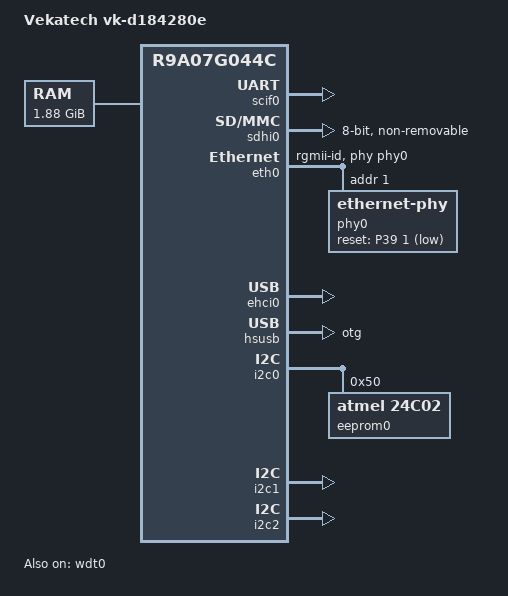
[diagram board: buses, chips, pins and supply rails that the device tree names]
// SPDX-License-Identifier: GPL-2.0
/*
 * Device Tree Source for the VK-CMRZ/G2LC board
 *
 */

/dts-v1/;
#include <dt-bindings/gpio/gpio.h>
#include "r9a07g044c.dtsi"
#include "r9a07g044c-u-boot.dtsi"
#include <dt-bindings/pinctrl/rzg2l-pinctrl.h>

/ {
        model = "Vekatech vk-d184280e";
        compatible = "renesas,r9a07g044c", "renesas,rzg2lc";

        aliases {
                serial0 = &scif0;
        };

        chosen {
                stdout-path = "serial0:115200n8";
        };

        memory@48000000 {
                device_type = "memory";
                /* first 128MB is reserved for secure area. */
                reg = <0 0x48000000 0 0x78000000>; 
        };

};

&pinctrl {
        eth0_pins: eth0 {
                pinmux = <RZG2L_PINMUX(28, 1, 1)>, /* ET0_LINKSTA */
                         <RZG2L_PINMUX(27, 1, 1)>, /* ET0_MDC */
                         <RZG2L_PINMUX(28, 0, 1)>, /* ET0_MDIO */
                         <RZG2L_PINMUX(20, 0, 1)>, /* ET0_TXC */
                         <RZG2L_PINMUX(20, 1, 1)>, /* ET0_TX_CTL */
                         <RZG2L_PINMUX(20, 2, 1)>, /* ET0_TXD0 */
                         <RZG2L_PINMUX(21, 0, 1)>, /* ET0_TXD1 */
                         <RZG2L_PINMUX(21, 1, 1)>, /* ET0_TXD2 */
                         <RZG2L_PINMUX(22, 0, 1)>, /* ET0_TXD3 */
                         <RZG2L_PINMUX(24, 0, 1)>, /* ET0_RXC */
                         <RZG2L_PINMUX(24, 1, 1)>, /* ET0_RX_CTL */
                         <RZG2L_PINMUX(25, 0, 1)>, /* ET0_RXD0 */
                         <RZG2L_PINMUX(25, 1, 1)>, /* ET0_RXD1 */
                         <RZG2L_PINMUX(26, 0, 1)>, /* ET0_RXD2 */
                         <RZG2L_PINMUX(26, 1, 1)>; /* ET0_RXD3 */
        };

	i2c2_pins: i2c2 {
                pinmux = <RZG2L_PINMUX(42, 3, 1)>,
                         <RZG2L_PINMUX(42, 4, 1)>;
        }; 

};

&xinclk {
        clock-frequency = <24000000>;
};

&scif0 {
        status = "okay";
        clock = <100000000>;
};

&sdhi0 {
        bus-width = <8>;
	non-removable; /* Forces U-Boot to assume the card is instantly present */
        status = "okay";
};

&eth0 {
        pinctrl-names = "default";
        pinctrl-0 = <&eth0_pins>;
        phy-handle = <&phy0>;
        phy-mode = "rgmii-id";
        status = "okay";

        phy0: ethernet-phy@1 {
                reg = <1>;
		reset-gpios = <&P39 1 GPIO_ACTIVE_LOW>;
        };
};

&ehci0 {
        status = "okay";
}; 

&hsusb {
	dr_mode = "otg";
	status = "okay";
};

&i2c0 {
        pinctrl-names = "default";
        status = "okay";

	eeprom0: eeprom@50 {
		compatible = "atmel,24c02";
		reg = <0x50>;
		pagesize = <16>;
	};
};

&i2c1 {
        pinctrl-names = "default";
        status = "okay";
};

&i2c2 {
        pinctrl-0 = <&i2c2_pins>;
        pinctrl-names = "default";
        status = "okay";
};


&wdt0 {
        status = "okay";
        timeout-sec = <60>;
};
